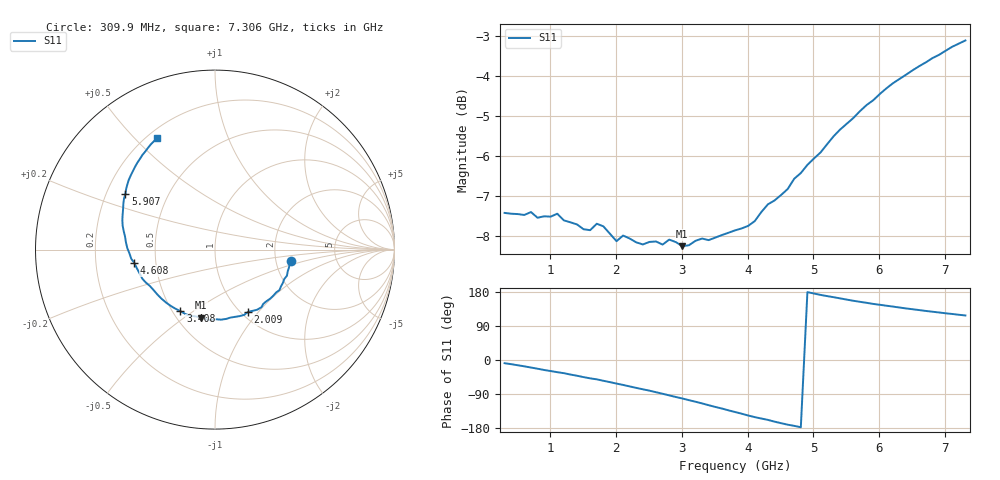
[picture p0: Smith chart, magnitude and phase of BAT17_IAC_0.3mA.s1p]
! Infineon Technologies  Discrete & RF Semiconductors
! BAT17
! IAC = 0.3 mA
! One-Port S-Parameters
# Hz  S  MA  R  50
!f  S11
!Hz  Mag  Ang
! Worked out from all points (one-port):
!   71 points, 309.9 MHz to 7.306 GHz, reference 50 ohm
!   lowest |S11| = -8.3 dB at 3.009 GHz (marker M1), VSWR 2.26, Z = 32.6 - j29 ohm
!   |S11| at or under -10 dB: nowhere
!   S11 on the Smith chart (normalised r, x): 309.9 MHz: 2.41, -0.37; 2.009 GHz: 1.07, -0.88; 3.408 GHz: 0.55, -0.45; 4.608 GHz: 0.38, -0.07; 5.907 GHz: 0.28, +0.27; 7.306 GHz: 0.24, +0.58
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3.0985e8  0.4254 -8.4
7.0965e8  0.4265 -19.9
8.096e8  0.4195 -23.0
1.10945e9  0.4244 -32.2
1.2094e9  0.4163 -34.7
1.6092e9  0.4047 -48.4
1.70915e9  0.4123 -51.0
2.009e9  0.3921 -62.2
2.10895e9  0.3985 -65.8
2.4088e9  0.3884 -77.3
2.6087e9  0.3918 -85.1
2.8086e9  0.3938 -93.4
3.0085e9  0.3865 -101.6
3.2084e9  0.3925 -110.1
3.4083e9  0.3933 -119.3
3.8081e9  0.4045 -137.2
4.10795e9  0.4154 -150.7
4.30785e9  0.436 -158.1
4.6077e9  0.4557 -170.7
4.70765e9  0.4694 -173.8
4.90755e9  0.4885 179.1
5.30735e9  0.5308 165.7
5.6072e9  0.5595 156.3
5.90705e9  0.5886 148.0
6.2069e9  0.6182 140.9
6.50675e9  0.6418 133.9
7.0065e9  0.6788 123.3
7.30635e9  0.6992 117.5
